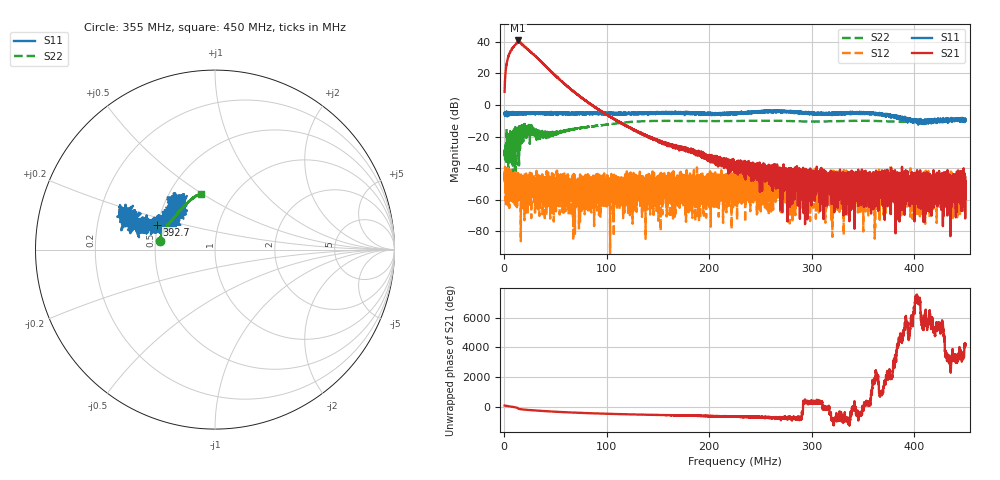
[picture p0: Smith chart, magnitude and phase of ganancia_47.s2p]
# Hz S DB R 50
! CMT, M5065, 19127446, 24.2.4/2
! Date: 12/3/2024 4:16:16 PM
! Data: Format (Calibration Info)
! Freq	S11:dB/Ang(F2)	S21:dB/Ang(F2)	S12:dB/Ang(F2)	S22:dB/Ang(F2)
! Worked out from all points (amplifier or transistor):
!   9000 points, 300 kHz to 450 MHz, reference 50 ohm
!   highest |S21| = 40.7 dB at 13.39 MHz (marker M1)
!   |S21| within 3 dB of that: 10.4 MHz to 18.19 MHz (7.783 MHz wide, 54.5 % of centre)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
!   unconditionally stable (mu >= 1): start of sweep to 10.04 MHz; 10.75 MHz to 11.99 MHz; 15.62 MHz to end of sweep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
!   at 75.26 MHz: K = 115.45, MAG = 6.3 dB, |S12| = -55.3 dB
!   at 225.2 MHz: K = 47727.12, MAG = -39.6 dB, |S12| = -61.9 dB
!   at 450 MHz: K = 21462.65, MAG = -44.9 dB, |S12| = -48.7 dB
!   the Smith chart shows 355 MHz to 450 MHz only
!   S11 on the Smith chart (normalised r, x): 355 MHz: 0.32, +0.17; 392.7 MHz: 0.50, +0.15; 450 MHz: 0.55, +0.35
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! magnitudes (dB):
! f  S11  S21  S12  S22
! 300 kHz  -5.1  8.2  -47.2  -30.7
! 4.648 MHz  -6.4  31.9  -47.9  -24.4
! 13.39 MHz  -5.3  40.7  -53.1  -17.7
! 20.89 MHz  -5.3  36.1  -68.3  -16.5
! 41.98 MHz  -5.1  23.4  -58.9  -18.7
! 75.26 MHz  -5.2  4.6  -55.3  -14.5
! 150.2 MHz  -5.2  -22.7  -48.8  -10.1
! 225.2 MHz  -5.4  -41.5  -61.9  -10.2
! 256.9 MHz  -4.1  -41.4  -48.3  -10.0
! 291.6 MHz  -5.1  -62.5  -51.2  -10.4
! 300.1 MHz  -5.1  -48.5  -43.2  -10.5
! 340.3 MHz  -4.7  -51.4  -51.1  -10.1
! 348.4 MHz  -5.2  -53.2  -54.5  -10.1
! 355 MHz  -5.5  -57.2  -48.7  -10.1
! 375.1 MHz  -6.5  -47.2  -51.5  -10.4
! 392.7 MHz  -9.1  -50.6  -55.1  -10.7
! 404.5 MHz  -9.5  -42.3  -57.1  -10.7
! 434.9 MHz  -9.3  -46.6  -47.7  -10.1
! 444.1 MHz  -9.9  -45.8  -69.1  -10.0
! 447.8 MHz  -10.3  -55.7  -47.9  -9.9
! 450 MHz  -9.0  -59.5  -53.9  -9.9
! 450 MHz  -10.1  -45.8  -48.7  -9.9
